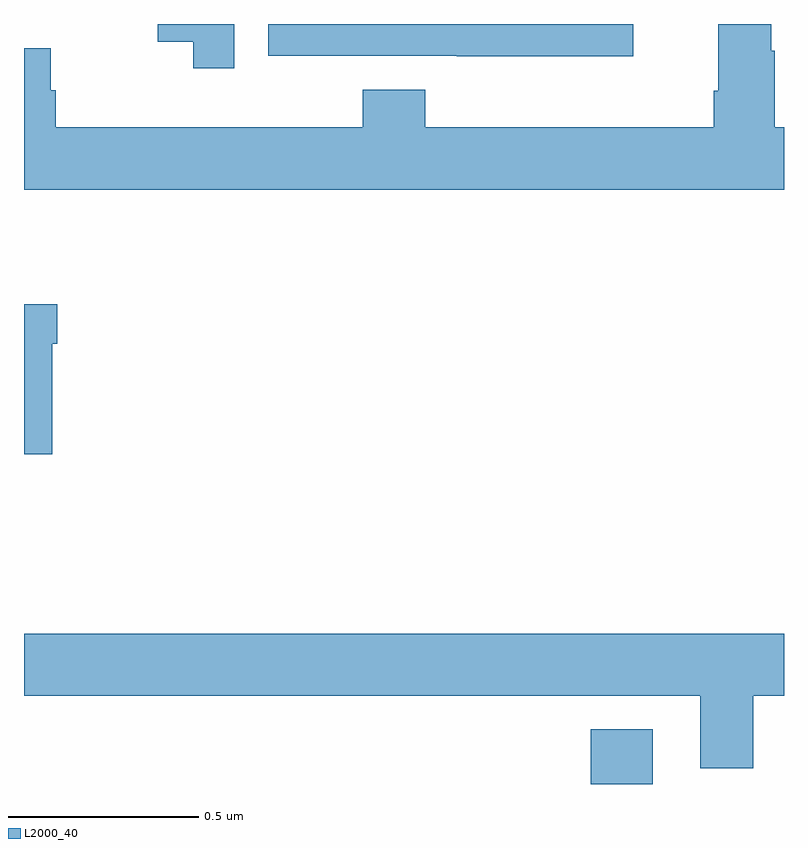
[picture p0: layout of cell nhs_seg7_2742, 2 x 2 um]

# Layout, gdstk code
import gdstk
lib = gdstk.Library(unit=1e-6, precision=1e-09)
def R(c, l, rs):  # rectangles x0, y0, x1, y1
    for r in rs: c.add(gdstk.rectangle(r[:2], r[2:], *l))
def P(c, l, *ps):  # polygons
    for p in ps: c.add(gdstk.Polygon(p, *l))
L2000_40 = (2000, 40)

nhs_seg7_2742 = lib.new_cell('nhs_seg7_2742')
R(nhs_seg7_2742, L2000_40, [(150.491,1051,150.655,1051.144)])
P(nhs_seg7_2742, L2000_40, [(151,1052.728),(150.975,1052.728),(150.975,1052.93),(150.967,1052.93),(150.967,1053),(150.827,1053),(150.827,1052.824),(150.815,1052.824),(150.815,1052.728),(150.056,1052.728),(150.056,1052.827),(149.891,1052.827),(149.891,1052.728),(149.084,1052.728),(149.084,1052.826),(149.071,1052.826),(149.071,1052.936),(149,1052.936),(149,1052.564),(151,1052.564)],
  [(149.553,1053),(149.352,1053),(149.352,1052.953),(149.445,1052.953),(149.445,1052.883),(149.553,1052.883)],
  [(150.603,1053),(149.643,1053),(149.643,1052.916),(150.139,1052.916),(150.139,1052.915),(150.603,1052.915)],
  [(149.074,1052.159),(149.087,1052.159),(149.087,1052.263),(149,1052.263),(149,1051.868),(149.074,1051.868)],
  [(150.919,1051.232),(151,1051.232),(151,1051.396),(149,1051.396),(149,1051.232),(150.779,1051.232),(150.779,1051.042),(150.919,1051.042)])

lib.write_gds('nhs_seg7_2742.gds')
